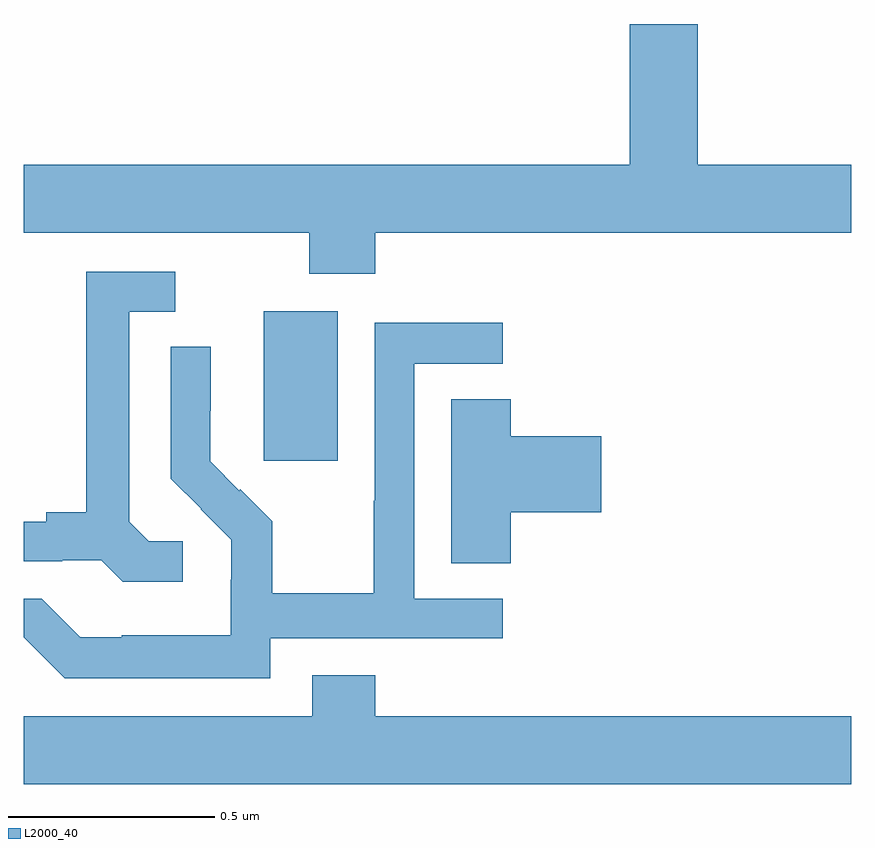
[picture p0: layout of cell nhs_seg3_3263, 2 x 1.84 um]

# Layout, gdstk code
import gdstk
lib = gdstk.Library(unit=1e-6, precision=1e-09)
def R(c, l, rs):  # rectangles x0, y0, x1, y1
    for r in rs: c.add(gdstk.rectangle(r[:2], r[2:], *l))
def P(c, l, *ps):  # polygons
    for p in ps: c.add(gdstk.Polygon(p, *l))
L2000_40 = (2000, 40)

nhs_seg3_3263 = lib.new_cell('nhs_seg3_3263')
R(nhs_seg3_3263, L2000_40, [(151.58,720.345,151.759,720.706)])
P(nhs_seg3_3263, L2000_40, [(151.85,720.896),(153,720.896),(153,721.06),(152.629,721.06),(152.629,721.4),(152.465,721.4),(152.465,721.06),(151,721.06),(151,720.896),(151.69,720.896),(151.69,720.797),(151.85,720.797)],
  [(151.384,720.15),(151.302,720.15),(151.255,720.197),(151.255,720.705),(151.366,720.705),(151.366,720.801),(151.151,720.801),(151.151,720.221),(151.055,720.221),(151.055,720.198),(151,720.198),(151,720.102),(151.094,720.102),(151.094,720.105),(151.188,720.105),(151.24,720.053),(151.384,720.053)],
  [(151.596,719.916),(152.158,719.916),(152.158,720.012),(151.944,720.012),(151.944,720.579),(152.158,720.579),(152.158,720.678),(151.848,720.678),(151.848,720.248),(151.846,720.248),(151.846,720.025),(151.601,720.025),(151.601,720.199),(151.524,720.276),(151.521,720.273),(151.451,720.344),(151.451,720.466),(151.452,720.466),(151.452,720.62),(151.356,720.62),(151.356,720.302),(151.429,720.229),(151.428,720.228),(151.502,720.154),(151.502,720.057),(151.5,720.057),(151.5,719.923),(151.237,719.923),(151.237,719.919),(151.137,719.919),(151.044,720.012),(151,720.012),(151,719.918),(151.099,719.819),(151.596,719.819)],
  [(152.177,720.221),(152.395,720.221),(152.395,720.404),(152.177,720.404),(152.177,720.494),(152.033,720.494),(152.033,720.097),(152.177,720.097)],
  [(153,719.728),(151.85,719.728),(151.85,719.827),(151.697,719.827),(151.697,719.728),(151,719.728),(151,719.564),(153,719.564)])

lib.write_gds('nhs_seg3_3263.gds')
